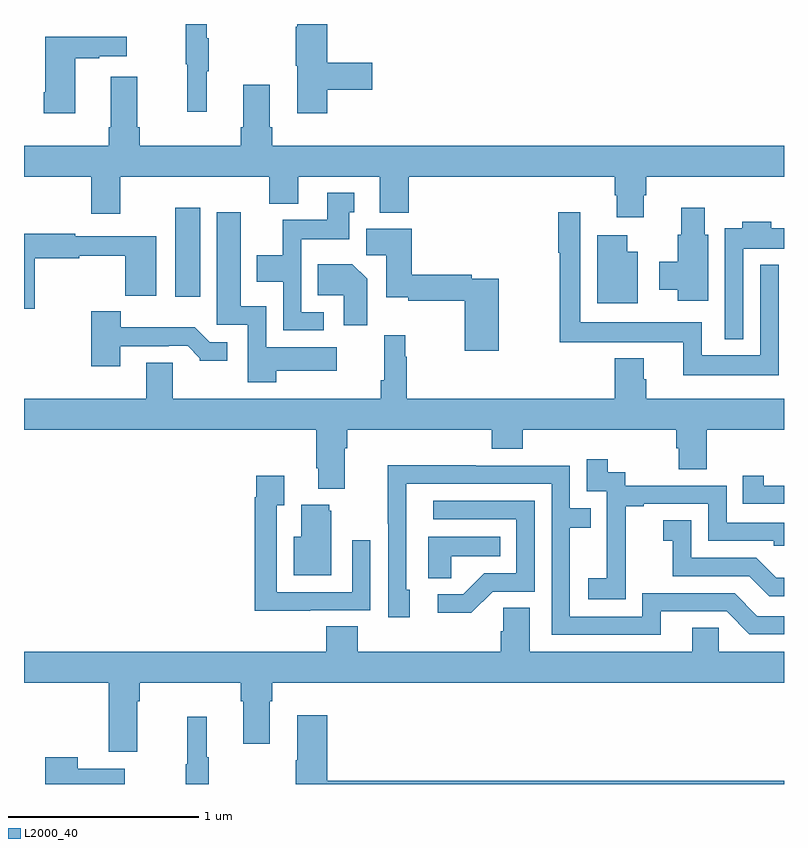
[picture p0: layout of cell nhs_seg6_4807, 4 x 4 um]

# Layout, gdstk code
import gdstk
lib = gdstk.Library(unit=1e-6, precision=1e-09)
def R(c, l, rs):  # rectangles x0, y0, x1, y1
    for r in rs: c.add(gdstk.rectangle(r[:2], r[2:], *l))
def P(c, l, *ps):  # polygons
    for p in ps: c.add(gdstk.Polygon(p, *l))
L2000_40 = (2000, 40)

nhs_seg6_4807 = lib.new_cell('nhs_seg6_4807')
R(nhs_seg6_4807, L2000_40, [(397.796,920.064,397.927,920.533)])
P(nhs_seg6_4807, L2000_40, [(397.961,921.251),(397.972,921.251),(397.972,921.425),(397.961,921.425),(397.961,921.5),(397.851,921.5),(397.851,921.288),(397.858,921.288),(397.858,921.039),(397.961,921.039)],
  [(398.597,921.154),(398.833,921.154),(398.833,921.296),(398.597,921.296),(398.597,921.5),(398.438,921.5),(398.438,921.485),(398.431,921.485),(398.431,921.279),(398.438,921.279),(398.438,921.03),(398.597,921.03)],
  [(397.27,921.319),(397.397,921.319),(397.397,921.329),(397.54,921.329),(397.54,921.433),(397.112,921.433),(397.112,921.142),(397.105,921.142),(397.105,921.03),(397.27,921.03)],
  [(400.261,920.598),(400.274,920.598),(400.274,920.696),(401,920.696),(401,920.86),(398.306,920.86),(398.306,920.956),(398.293,920.956),(398.293,921.181),(398.153,921.181),(398.153,920.956),(398.141,920.956),(398.141,920.86),(397.61,920.86),(397.61,920.956),(397.597,920.956),(397.597,921.223),(397.457,921.223),(397.457,920.956),(397.445,920.956),(397.445,920.86),(397,920.86),(397,920.696),(397.355,920.696),(397.355,920.502),(397.507,920.502),(397.507,920.696),(398.291,920.696),(398.291,920.555),(398.443,920.555),(398.443,920.696),(398.873,920.696),(398.873,920.507),(399.026,920.507),(399.026,920.696),(400.109,920.696),(400.109,920.598),(400.121,920.598),(400.121,920.484),(400.261,920.484)],
  [(398.578,919.983),(398.46,919.983),(398.46,920.366),(398.713,920.366),(398.713,920.508),(398.737,920.508),(398.737,920.611),(398.597,920.611),(398.597,920.47),(398.362,920.47),(398.362,920.284),(398.225,920.284),(398.225,920.144),(398.364,920.144),(398.364,919.887),(398.578,919.887)],
  [(400.6,920.391),(400.582,920.391),(400.582,920.533),(400.46,920.533),(400.46,920.391),(400.442,920.391),(400.442,920.25),(400.343,920.25),(400.343,920.102),(400.442,920.102),(400.442,920.043),(400.6,920.043)],
  [(398.327,919.676),(398.647,919.676),(398.647,919.798),(398.274,919.798),(398.274,920.014),(398.14,920.014),(398.14,920.509),(398.015,920.509),(398.015,919.917),(398.178,919.917),(398.178,919.614),(398.327,919.614)],
  [(400.972,920.233),(400.875,920.233),(400.875,919.756),(400.566,919.756),(400.566,919.93),(399.927,919.93),(399.927,920.509),(399.811,920.509),(399.811,920.296),(399.819,920.296),(399.819,919.826),(400.469,919.826),(400.469,919.652),(400.972,919.652)],
  [(400.785,920.318),(401,920.318),(401,920.425),(400.934,920.425),(400.934,920.458),(400.781,920.458),(400.781,920.425),(400.689,920.425),(400.689,919.841),(400.785,919.841)],
  [(399.498,920.16),(399.356,920.16),(399.356,920.18),(399.041,920.18),(399.041,920.422),(398.801,920.422),(398.801,920.284),(398.906,920.284),(398.906,920.063),(399.022,920.063),(399.022,920.044),(399.32,920.044),(399.32,919.779),(399.498,919.779)],
  [(397.056,920.266),(397.29,920.266),(397.29,920.281),(397.534,920.281),(397.534,920.069),(397.696,920.069),(397.696,920.382),(397.271,920.382),(397.271,920.395),(397,920.395),(397,920.001),(397.056,920.001)],
  [(400.231,920.302),(400.174,920.302),(400.174,920.389),(400.016,920.389),(400.016,920.03),(400.231,920.03)],
  [(398.806,920.158),(398.728,920.236),(398.545,920.236),(398.545,920.072),(398.684,920.072),(398.684,919.914),(398.806,919.914)],
  [(397.507,919.803),(397.763,919.803),(397.763,919.806),(397.862,919.806),(397.926,919.742),(397.926,919.727),(398.071,919.727),(398.071,919.824),(397.977,919.824),(397.899,919.903),(397.51,919.903),(397.51,919.987),(397.355,919.987),(397.355,919.698),(397.507,919.698)],
  [(398.689,919.268),(398.702,919.268),(398.702,919.364),(399.461,919.364),(399.461,919.265),(399.626,919.265),(399.626,919.364),(400.433,919.364),(400.433,919.266),(400.445,919.266),(400.445,919.156),(400.593,919.156),(400.593,919.364),(401,919.364),(401,919.528),(400.274,919.528),(400.274,919.629),(400.261,919.629),(400.261,919.741),(400.109,919.741),(400.109,919.528),(399.014,919.528),(399.014,919.748),(399.007,919.748),(399.007,919.861),(398.896,919.861),(398.896,919.624),(398.878,919.624),(398.878,919.528),(397.783,919.528),(397.783,919.718),(397.643,919.718),(397.643,919.528),(397,919.528),(397,919.364),(398.537,919.364),(398.537,919.162),(398.549,919.162),(398.549,919.055),(398.689,919.055)],
  [(400.167,918.679),(400.166,918.679),(400.166,918.963),(400.261,918.963),(400.261,918.975),(400.602,918.975),(400.602,918.78),(400.947,918.78),(400.947,918.753),(401,918.753),(401,918.876),(400.698,918.876),(400.698,919.071),(400.164,919.071),(400.164,919.14),(400.072,919.14),(400.072,919.21),(399.963,919.21),(399.963,919.041),(400.068,919.041),(400.068,918.812),(400.067,918.812),(400.067,918.583),(399.969,918.583),(399.969,918.473),(400.167,918.473)],
  [(400.351,918.408),(400.698,918.408),(400.818,918.288),(401,918.288),(401,918.384),(400.86,918.384),(400.74,918.504),(400.254,918.504),(400.254,918.381),(399.873,918.381),(399.873,918.85),(399.983,918.85),(399.983,918.951),(399.873,918.951),(399.873,919.176),(399.377,919.176),(399.377,919.178),(398.914,919.178),(398.914,918.871),(398.916,918.871),(398.916,918.378),(399.031,918.378),(399.031,918.522),(399.012,918.522),(399.012,919.08),(399.777,919.08),(399.777,918.285),(400.351,918.285)],
  [(398.507,918.414),(398.823,918.414),(398.823,918.784),(398.727,918.784),(398.727,918.51),(398.331,918.51),(398.331,918.967),(398.371,918.967),(398.371,919.123),(398.223,919.123),(398.223,919.01),(398.215,919.01),(398.215,918.413),(398.507,918.413)],
  [(401,919.071),(400.894,919.071),(400.894,919.123),(400.783,919.123),(400.783,918.975),(401,918.975)],
  [(399.468,918.513),(399.687,918.513),(399.687,918.99),(399.153,918.99),(399.153,918.894),(399.591,918.894),(399.591,918.609),(399.422,918.609),(399.311,918.498),(399.177,918.498),(399.177,918.401),(399.355,918.401)],
  [(398.617,918.939),(398.606,918.939),(398.606,918.97),(398.459,918.97),(398.459,918.802),(398.42,918.802),(398.42,918.599),(398.617,918.599)],
  [(401,918.586),(400.958,918.586),(400.854,918.69),(400.512,918.69),(400.512,918.889),(400.365,918.889),(400.365,918.779),(400.414,918.779),(400.414,918.594),(400.817,918.594),(400.922,918.489),(401,918.489)],
  [(399.249,918.698),(399.506,918.698),(399.506,918.802),(399.128,918.802),(399.128,918.583),(399.249,918.583)],
  [(397.597,917.936),(397.61,917.936),(397.61,918.032),(398.141,918.032),(398.141,917.936),(398.153,917.936),(398.153,917.712),(398.293,917.712),(398.293,917.936),(398.306,917.936),(398.306,918.032),(401,918.032),(401,918.196),(400.656,918.196),(400.656,918.323),(400.517,918.323),(400.517,918.196),(399.661,918.196),(399.661,918.428),(399.522,918.428),(399.522,918.305),(399.509,918.305),(399.509,918.196),(398.756,918.196),(398.756,918.329),(398.591,918.329),(398.591,918.196),(397,918.196),(397,918.032),(397.445,918.032),(397.445,917.67),(397.597,917.67)],
  [(401,917.516),(398.597,917.516),(398.597,917.863),(398.438,917.863),(398.438,917.624),(398.431,917.624),(398.431,917.5),(401,917.5)],
  [(397.972,917.641),(397.961,917.641),(397.961,917.854),(397.858,917.854),(397.858,917.604),(397.851,917.604),(397.851,917.5),(397.972,917.5)],
  [(397.531,917.581),(397.283,917.581),(397.283,917.641),(397.112,917.641),(397.112,917.5),(397.531,917.5)])

lib.write_gds('nhs_seg6_4807.gds')
